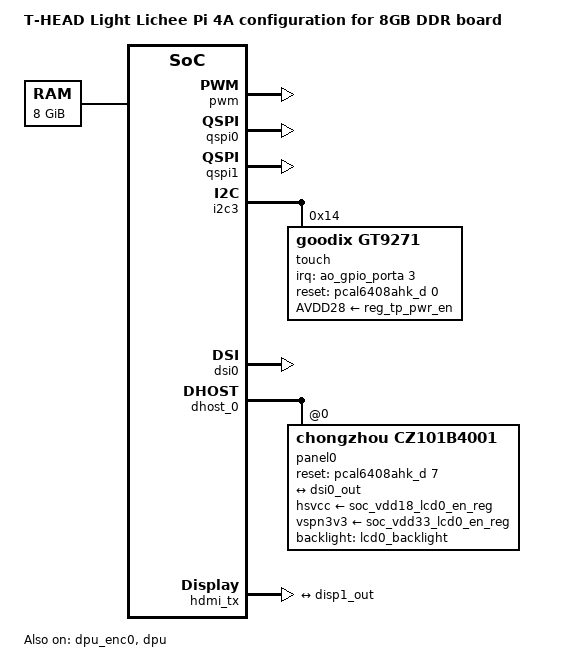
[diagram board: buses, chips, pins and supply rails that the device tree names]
/* SPDX-License-Identifier: GPL-2.0 */
/*
 * Copyright (C) 2022 Alibaba Group Holding Limited.
 */

#include "light-lpi4a-ref.dts"

/ {
	model = "T-HEAD Light Lichee Pi 4A configuration for 8GB DDR board";
	compatible = "thead,light-val", "thead,light-lpi4a", "thead,light";

	memory@0 {
		device_type = "memory";
		reg = <0x0 0x00000000 0x2 0x00000000>;
	};
};

&cmamem {
	alloc-ranges = <0x1 0xe4000000 0 0x14000000>; // [0x1E400_0000 ~ 0x1F800_0000]
};

&pwm {
	status = "okay";
};

&qspi0 {
	status = "okay";
};

&qspi1 {
	status = "okay";
};

&i2c3 {
	touch@14 {
		#gpio-cells = <2>;
		compatible = "goodix,gt9271";
		reg = <0x14>;
		interrupt-parent = <&ao_gpio_porta>;
		interrupts = <3 0>; 
		irq-gpios = <&ao_gpio_porta 3 0>; 
		reset-gpios = <&pcal6408ahk_d 0 0>; 
		AVDD28-supply = <&reg_tp_pwr_en>;
		touchscreen-size-x = <800>;
		touchscreen-size-y = <1280>;
		tp-size = <9271>;
		status = "okay";
	};
};

&dpu_enc0 {
       status = "okay";

       ports {
               /* output */
               port@1 {
                       reg = <1>;

                       enc0_out: endpoint {
                               remote-endpoint = <&dsi0_in>;
                       };
               };
       };
};

&dpu_enc1 {
        ports {
                /delete-node/ port@0;
        };
};

&dpu {
        status = "okay";
};

&dsi0 {
        status = "okay";
};

&dhost_0 {
       ports {
               #address-cells = <1>;
               #size-cells = <0>;

               port@0 {
                       reg = <0>;

                       dsi0_in: endpoint {
                               remote-endpoint = <&enc0_out>;
                       };
               };

               port@1 {
                       reg = <1>;

                       dsi0_out: endpoint {
                               remote-endpoint = <&panel0_in>;
                       };
               };
       };

       panel0@0 {
		compatible = "chongzhou,cz101b4001", "jadard,jd9365da-h3";
		reg = <0>;
		backlight = <&lcd0_backlight>;
		reset-gpio = <&pcal6408ahk_d 7 0>; /* active low */
		hsvcc-supply = <&soc_vdd18_lcd0_en_reg>;  
		vspn3v3-supply = <&soc_vdd33_lcd0_en_reg>;

               port {
                       panel0_in: endpoint {
                               remote-endpoint = <&dsi0_out>;
                       };
               };
       };
};

&disp1_out {
	remote-endpoint = <&hdmi_tx_in>;
};

&hdmi_tx {
	status = "okay";

	port@0 {
		/* input */
		hdmi_tx_in: endpoint {
			remote-endpoint = <&disp1_out>;
		};
	};
};
